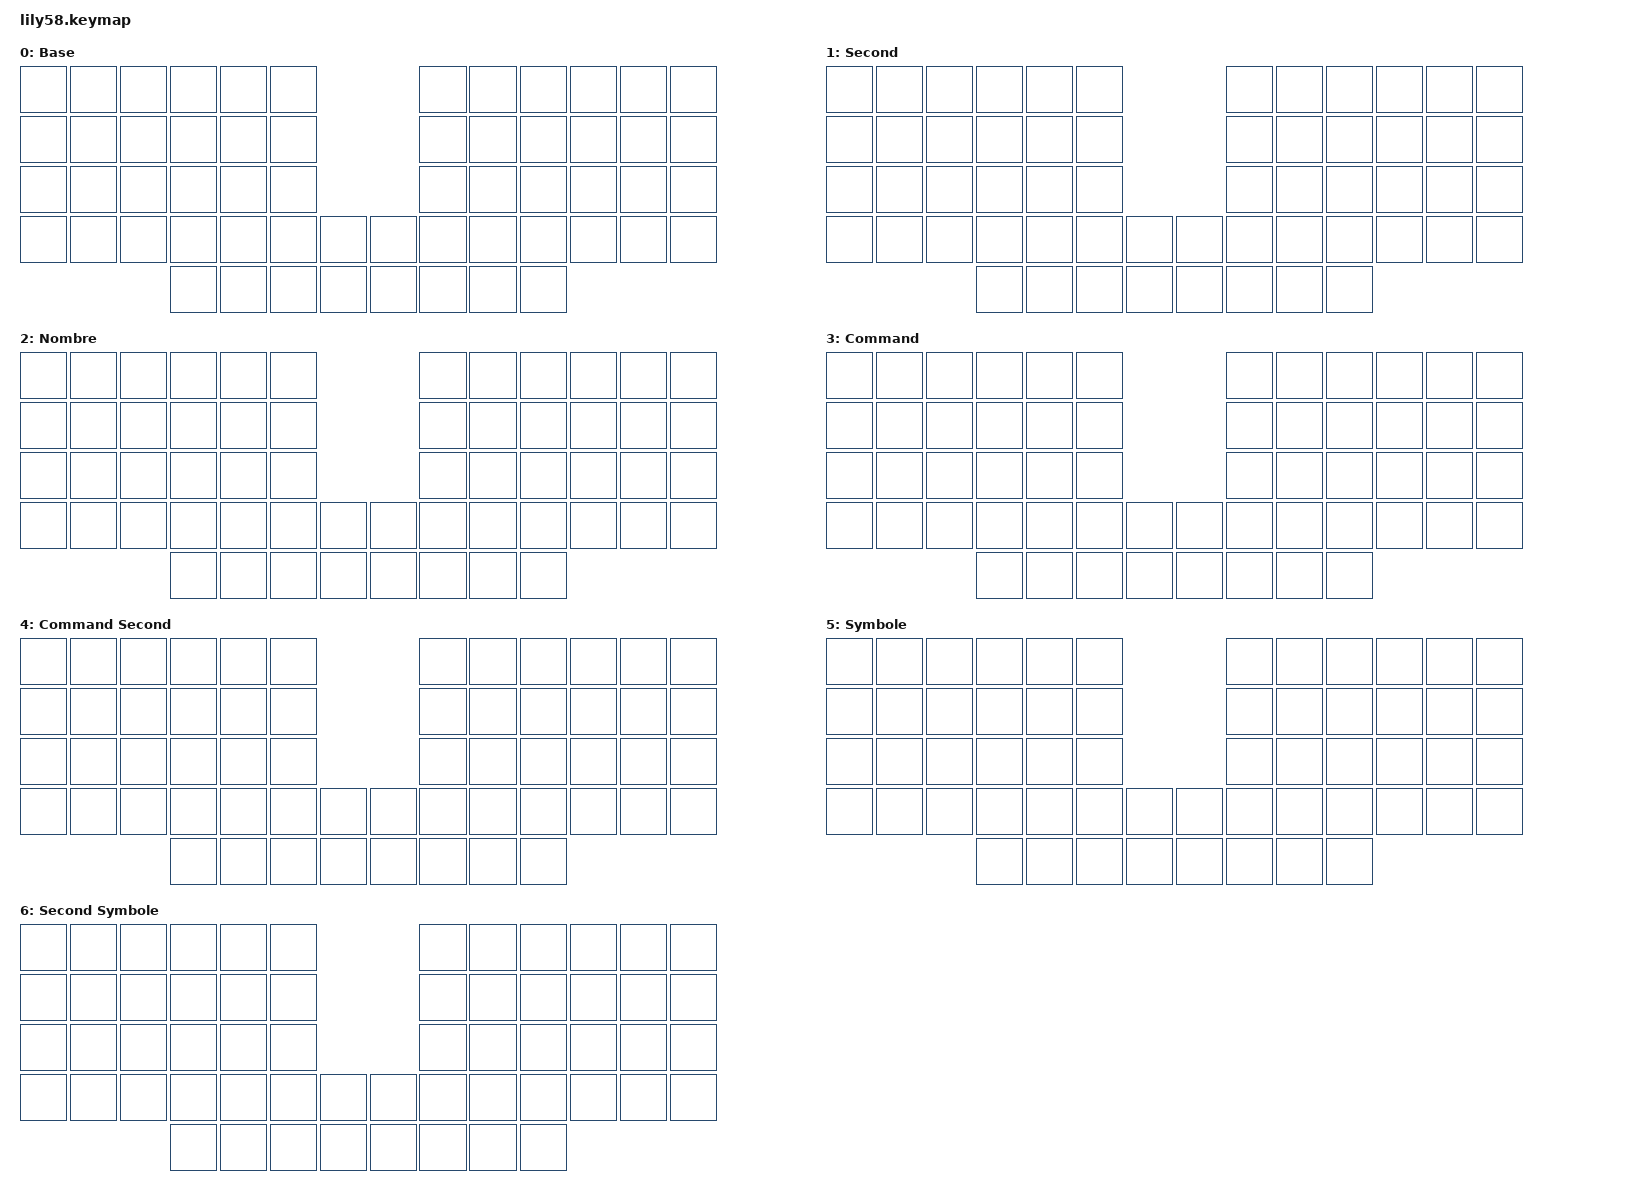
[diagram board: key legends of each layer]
/*
 * Copyright (c) 2020 The ZMK Contributors
 *
 * SPDX-License-Identifier: MIT
 */

#include <behaviors.dtsi>

/ {
    keymap {
        compatible = "zmk,keymap";

        niveau_base {
            bindings = <
&none  &none  &none  &none  &none  &none                  &none  &none  &none  &none  &none  &none
&none  &none  &none  &none  &none  &none                  &none  &none  &none  &none  &none  &none
&none  &none  &none  &none  &none  &none                  &none  &none  &none  &none  &none  &none
&none  &none  &none  &none  &none  &none  &none    &none  &none  &none  &none  &none  &none  &none
                     &none  &none  &none  &none    &none  &none  &none  &none
            >;

            label = "Base";
        };

        niveau_second {
            bindings = <
&none  &none  &none  &none  &none  &none                  &none  &none  &none  &none  &none  &none
&none  &none  &none  &none  &none  &none                  &none  &none  &none  &none  &none  &none
&none  &none  &none  &none  &none  &none                  &none  &none  &none  &none  &none  &none
&none  &none  &none  &none  &none  &none  &none    &none  &none  &none  &none  &none  &none  &none
                     &none  &none  &none  &none    &none  &none  &none  &none
            >;

            label = "Second";
        };

        niveau_nombre {
            bindings = <
&none  &none  &none  &none  &none  &none                  &none  &none  &none  &none  &none  &none
&none  &none  &none  &none  &none  &none                  &none  &none  &none  &none  &none  &none
&none  &none  &none  &none  &none  &none                  &none  &none  &none  &none  &none  &none
&none  &none  &none  &none  &none  &none  &none    &none  &none  &none  &none  &none  &none  &none
                     &none  &none  &none  &none    &none  &none  &none  &none
            >;

            label = "Nombre";
        };

        niveau_command {
            bindings = <
&none  &none  &none  &none  &none  &none                  &none  &none  &none  &none  &none  &none
&none  &none  &none  &none  &none  &none                  &none  &none  &none  &none  &none  &none
&none  &none  &none  &none  &none  &none                  &none  &none  &none  &none  &none  &none
&none  &none  &none  &none  &none  &none  &none    &none  &none  &none  &none  &none  &none  &none
                     &none  &none  &none  &none    &none  &none  &none  &none
            >;

            label = "Command";
        };

        niveau_command_second {
            bindings = <
&none  &none  &none  &none  &none  &none                  &none  &none  &none  &none  &none  &none
&none  &none  &none  &none  &none  &none                  &none  &none  &none  &none  &none  &none
&none  &none  &none  &none  &none  &none                  &none  &none  &none  &none  &none  &none
&none  &none  &none  &none  &none  &none  &none    &none  &none  &none  &none  &none  &none  &none
                     &none  &none  &none  &none    &none  &none  &none  &none
            >;

            label = "Command Second";
        };

        niveau_symbole {
            bindings = <
&none  &none  &none  &none  &none  &none                  &none  &none  &none  &none  &none  &none
&none  &none  &none  &none  &none  &none                  &none  &none  &none  &none  &none  &none
&none  &none  &none  &none  &none  &none                  &none  &none  &none  &none  &none  &none
&none  &none  &none  &none  &none  &none  &none    &none  &none  &none  &none  &none  &none  &none
                     &none  &none  &none  &none    &none  &none  &none  &none
            >;

            label = "Symbole";
        };

        niveau_symbole_second {
            bindings = <
&none  &none  &none  &none  &none  &none                  &none  &none  &none  &none  &none  &none
&none  &none  &none  &none  &none  &none                  &none  &none  &none  &none  &none  &none
&none  &none  &none  &none  &none  &none                  &none  &none  &none  &none  &none  &none
&none  &none  &none  &none  &none  &none  &none    &none  &none  &none  &none  &none  &none  &none
                     &none  &none  &none  &none    &none  &none  &none  &none
            >;

            label = "Second Symbole";
        };
    };
};
